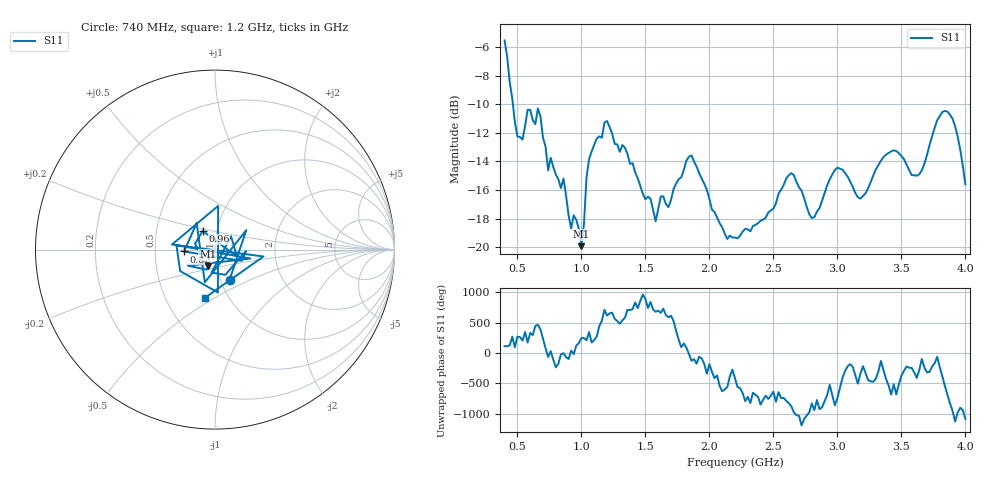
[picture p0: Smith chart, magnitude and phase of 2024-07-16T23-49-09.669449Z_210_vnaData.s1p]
!Created with skrf (http://scikit-rf.org).
# Hz S RI R 50.0
!freq ReS11 ImS11
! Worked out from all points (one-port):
!   181 points, 400 MHz to 4 GHz, reference 50 ohm
!   lowest |S11| = -19.9 dB at 1 GHz (marker M1), VSWR 1.22, Z = 45.3 - j8.45 ohm
!   |S11| at or under -10 dB: 464.8 MHz to end of sweep
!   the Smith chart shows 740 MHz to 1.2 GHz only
!   S11 on the Smith chart (normalised r, x): 740 MHz: 1.11, -0.38; 820 MHz: 0.71, -0.02; 960 MHz: 0.85, +0.18; 1.2 GHz: 0.77, -0.45
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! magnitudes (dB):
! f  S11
! 400 MHz  -5.5
! 500 MHz  -12.3
! 660 MHz  -10.3
! 740 MHz  -14.6
! 820 MHz  -15.2
! 860 MHz  -15.2
! 920 MHz  -18.7
! 960 MHz  -18.1
! 1 GHz  -19.9
! 1.06 GHz  -13.8
! 1.2 GHz  -11.2
! 1.3 GHz  -13.3
! 1.58 GHz  -18.2
! 1.76 GHz  -15.2
! 1.86 GHz  -13.6
! 2.14 GHz  -19.4
! 2.2 GHz  -19.3
! 2.66 GHz  -15.0
! 2.8 GHz  -18.0
! 2.98 GHz  -14.6
! 3.1 GHz  -15.4
! 3.18 GHz  -16.6
! 3.44 GHz  -13.2
! 3.56 GHz  -14.6
! 3.64 GHz  -14.9
! 3.86 GHz  -10.5
! 3.94 GHz  -12.3
! 4 GHz  -15.6
